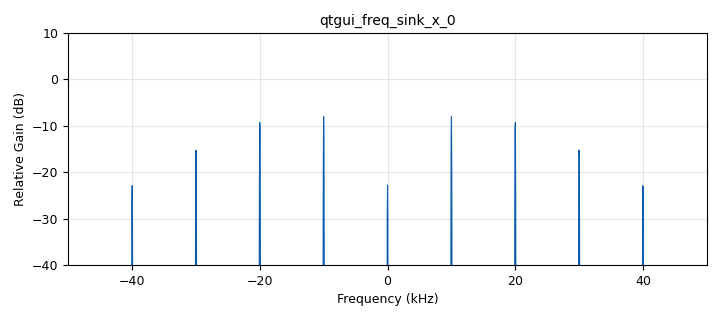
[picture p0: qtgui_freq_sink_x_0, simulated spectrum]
options:
  parameters:
    author: Bauti
    generate_options: qt_gui
    id: TP2P5A
    output_language: python
    title: Not titled yet
  states: {}

blocks:
- name: deltaF
  id: variable
  parameters:
    value: '10000'
  states: {}
- name: samp_rate
  id: variable
  parameters:
    value: '100000'
  states: {}
- name: analog_frequency_modulator_fc_0
  id: analog_frequency_modulator_fc
  parameters:
    sensitivity: samp_rate/(2*np.pi*deltaF)
  states: {}
- name: analog_sig_source_x_0
  id: analog_sig_source_x
  parameters:
    amp: '1'
    freq: '10000'
    offset: '0'
    phase: '0'
    samp_rate: samp_rate
    type: float
    waveform: analog.GR_SIN_WAVE
  states: {}
- name: blocks_throttle2_0
  id: blocks_throttle2
  parameters:
    samples_per_second: samp_rate
    type: float
  states: {}
- name: import_0
  id: import
  parameters:
    imports: import numpy as np
  states: {}
- name: qtgui_freq_sink_x_0
  id: qtgui_freq_sink_x
  parameters:
    bw: samp_rate
    ctrlpanel: 'True'
    fc: '0'
    fftsize: '2048'
    norm_window: 'True'
    tr_mode: qtgui.TRIG_MODE_AUTO
    type: complex
    wintype: window.WIN_HAMMING
    ymin: '-40'
  states: {}

connections:
- [analog_frequency_modulator_fc_0, '0', qtgui_freq_sink_x_0, '0']
- [analog_sig_source_x_0, '0', blocks_throttle2_0, '0']
- [blocks_throttle2_0, '0', analog_frequency_modulator_fc_0, '0']

metadata:
  file_format: 1
  grc_version: 3.10.12.0
